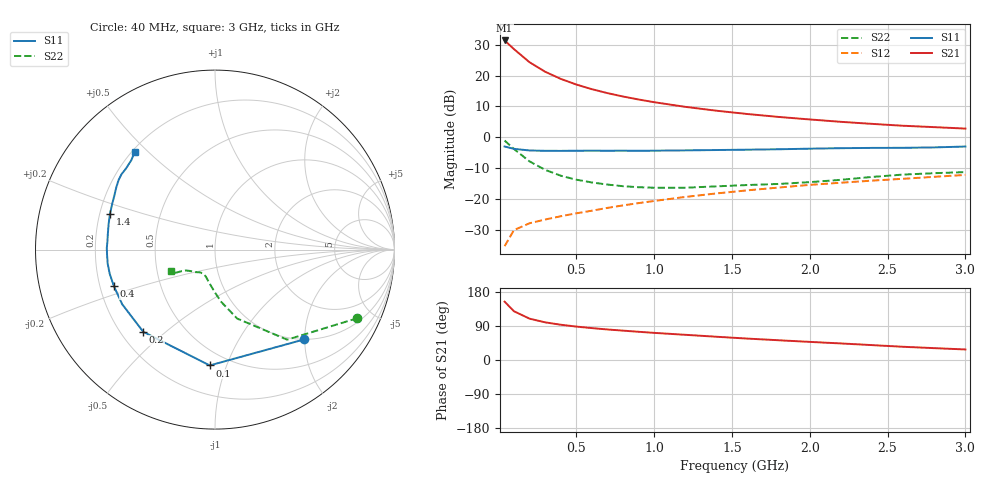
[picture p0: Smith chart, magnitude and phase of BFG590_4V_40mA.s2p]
! Filename:  BFG590D.S2P  Version:  4.0
! Philips part #: BFG590  Date: Jun 1994
! Bias condition: Vce=4V; Ic=40mA
#  MHz  S  MA  R  50
! Freq  S11  S21  S12  S22  !GUM [dB]
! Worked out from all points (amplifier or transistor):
!   21 points, 40 MHz to 3 GHz, reference 50 ohm
!   highest |S21| = 31.4 dB at 40 MHz (marker M1)
!   |S21| within 3 dB of that: start of sweep to 104.5 MHz
!   unconditionally stable (mu >= 1): 784.7 MHz to 2.533 GHz
!   at 300 MHz: K = 0.65, MSG = 24.0 dB, |S12| = -26.7 dB
!   at 1 GHz: K = 1.06, MAG = 14.5 dB, |S12| = -20.7 dB
!   at 3 GHz: K = 0.91, MSG = 7.5 dB, |S12| = -12.3 dB
!   S11 on the Smith chart (normalised r, x): 40 MHz: 1.00, -1.99; 100 MHz: 0.39, -0.87; 200 MHz: 0.29, -0.42; 400 MHz: 0.26, -0.16; 1.4 GHz: 0.24, +0.16; 3 GHz: 0.21, +0.46
40  0.706 -45.1  37.11 153.9  0.017 70.1  0.881 -25.7
100  0.646 -92.6  26.86 128.7  0.031 52.6  0.643 -51.3
200  0.608 -131.1  16.45 109.1  0.04 45.0  0.404 -72.1
300  0.6 -149.5  11.54 99.4  0.046 46.0  0.295 -83.0
400  0.599 -160.0  8.839 93.1  0.052 48.5  0.237 -90.4
500  0.602 -167.2  7.158 88.2  0.058 51.1  0.204 -96.1
600  0.603 -172.6  6.008 84.2  0.064 53.5  0.184 -100.7
700  0.602 -177.0  5.19 80.6  0.071 55.5  0.17 -104.7
800  0.603 179.1  4.571 77.5  0.078 57.1  0.16 -108.3
900  0.601 175.6  4.089 74.5  0.085 58.3  0.154 -112.0
1000  0.603 172.3  3.695 71.6  0.092 59.1  0.151 -115.6
1200  0.61 166.2  3.105 66.5  0.107 60.3  0.151 -122.6
1400  0.618 161.2  2.688 61.4  0.122 60.8  0.159 -127.6
1600  0.626 156.4  2.374 56.5  0.137 60.5  0.167 -131.3
1800  0.636 151.9  2.129 52.1  0.152 60.4  0.174 -135.4
2000  0.65 147.8  1.938 47.8  0.168 59.9  0.186 -140.5
2200  0.662 144.3  1.774 43.7  0.182 59.2  0.203 -145.1
2400  0.669 141.1  1.643 39.3  0.197 57.9  0.226 -147.6
2600  0.671 137.6  1.531 34.9  0.211 56.1  0.247 -149.0
2800  0.682 133.2  1.454 31.3  0.227 54.8  0.26 -150.4
3000  0.704 129.4  1.377 27.8  0.244 53.3  0.271 -153.8
